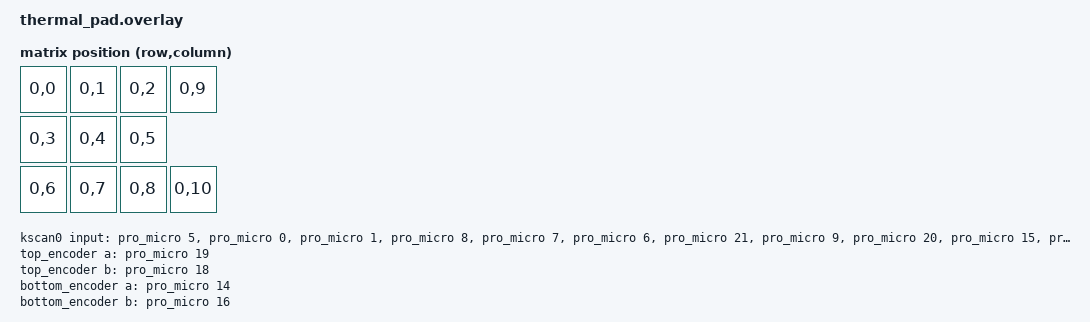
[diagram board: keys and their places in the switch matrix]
#include <dt-bindings/zmk/matrix_transform.h>

/ {
    chosen {
        zmk,kscan = &kscan0;
        zmk,matrix-transform = &default_transform;
    };

    kscan0: kscan {
        compatible = "zmk,kscan-gpio-direct";
        wakeup-source;
        input-gpios
            = <&pro_micro 5 (GPIO_ACTIVE_LOW | GPIO_PULL_UP)>
            , <&pro_micro 0 (GPIO_ACTIVE_LOW | GPIO_PULL_UP)>
            , <&pro_micro 1 (GPIO_ACTIVE_LOW | GPIO_PULL_UP)>
            , <&pro_micro 8 (GPIO_ACTIVE_LOW | GPIO_PULL_UP)>
            , <&pro_micro 7 (GPIO_ACTIVE_LOW | GPIO_PULL_UP)>
            , <&pro_micro 6 (GPIO_ACTIVE_LOW | GPIO_PULL_UP)>
            , <&pro_micro 21 (GPIO_ACTIVE_LOW | GPIO_PULL_UP)>
            , <&pro_micro 9 (GPIO_ACTIVE_LOW | GPIO_PULL_UP)>
            , <&pro_micro 20 (GPIO_ACTIVE_LOW | GPIO_PULL_UP)>
            , <&pro_micro 15 (GPIO_ACTIVE_LOW | GPIO_PULL_UP)>
            , <&pro_micro 10 (GPIO_ACTIVE_LOW | GPIO_PULL_UP)>
            ;
    };

    default_transform: matrix_transform {
        compatible = "zmk,matrix-transform";
        columns = <11>;
        rows = <1>;
        map = <
            RC(0,0) RC(0,1) RC(0,2) RC(0,9)
            RC(0,3) RC(0,4) RC(0,5)
            RC(0,6) RC(0,7) RC(0,8) RC(0,10)
        >;
    };

    top_encoder: encoder_top {
        compatible = "alps,ec11";
        a-gpios = <&pro_micro 19 (GPIO_ACTIVE_HIGH | GPIO_PULL_UP)>;
        b-gpios = <&pro_micro 18 (GPIO_ACTIVE_HIGH | GPIO_PULL_UP)>;
        steps = <80>;
        status = "okay";
    };
    bottom_encoder: encoder_bottom {
        compatible = "alps,ec11";
        a-gpios = <&pro_micro 14 (GPIO_ACTIVE_HIGH | GPIO_PULL_UP)>;
        b-gpios = <&pro_micro 16 (GPIO_ACTIVE_HIGH | GPIO_PULL_UP)>;
        steps = <80>;
        status = "okay";
    };
    sensors: sensors {
        compatible = "zmk,keymap-sensors";
        sensors = <&top_encoder &bottom_encoder>;
        triggers-per-rotation = <20>;
    };
};
